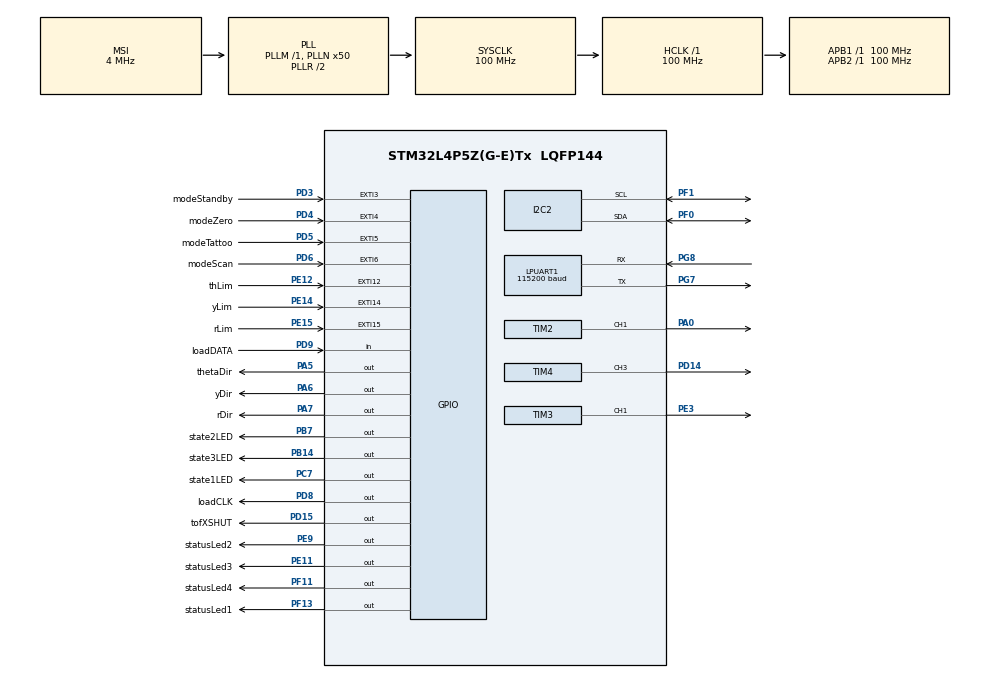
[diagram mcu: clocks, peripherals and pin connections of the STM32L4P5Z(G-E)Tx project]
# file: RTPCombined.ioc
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I2C2.Timing=0x10C0ECFF
LPUART1.BaudRate=115200
LPUART1.WordLength=UART_WORDLENGTH_8B
Mcu.Family=STM32L4
Mcu.Name=STM32L4P5Z(G-E)Tx
Mcu.Package=LQFP144
NVIC.EXTI15_10_IRQn=true\:0\:0\:false\:false\:true\:true\:true\:true
NVIC.EXTI3_IRQn=true\:0\:0\:false\:false\:true\:true\:true\:true
NVIC.EXTI4_IRQn=true\:0\:0\:false\:false\:true\:true\:true\:true
NVIC.EXTI9_5_IRQn=true\:0\:0\:false\:false\:true\:true\:true\:true
NVIC.LPUART1_IRQn=true\:0\:0\:false\:false\:true\:true\:true\:true
NVIC.PriorityGroup=NVIC_PRIORITYGROUP_4
NVIC.TIM2_IRQn=true\:0\:0\:false\:false\:true\:true\:true\:true
NVIC.TIM3_IRQn=true\:0\:0\:false\:false\:true\:true\:true\:true
NVIC.TIM4_IRQn=true\:0\:0\:false\:false\:true\:true\:true\:true
PA0.Signal=S_TIM2_CH1
PA13\ (JTMS/SWDIO).Mode=Serial_Wire
PA13\ (JTMS/SWDIO).Signal=SYS_JTMS-SWDIO
PA14\ (JTCK/SWCLK).Mode=Serial_Wire
PA14\ (JTCK/SWCLK).Signal=SYS_JTCK-SWCLK
PA5.GPIO_Label=thetaDir
PA5.Signal=GPIO_Output
PA6.GPIO_Label=yDir
PA6.Signal=GPIO_Output
PA7.GPIO_Label=rDir
PA7.Signal=GPIO_Output
PB14.GPIO_Label=state3LED
PB14.Signal=GPIO_Output
PB7.GPIO_Label=state2LED
PB7.Signal=GPIO_Output
PC7.GPIO_Label=state1LED
PC7.Signal=GPIO_Output
PD14.Signal=S_TIM4_CH3
PD15.GPIO_Label=tofXSHUT
PD15.Signal=GPIO_Output
PD3.GPIO_Label=modeStandby
PD3.GPIO_ModeDefaultEXTI=GPIO_MODE_IT_FALLING
PD3.GPIO_PuPd=GPIO_PULLUP
PD3.Signal=GPXTI3
PD4.GPIO_Label=modeZero
PD4.GPIO_ModeDefaultEXTI=GPIO_MODE_IT_FALLING
PD4.GPIO_PuPd=GPIO_PULLUP
PD4.Signal=GPXTI4
PD5.GPIO_Label=modeTattoo
PD5.GPIO_ModeDefaultEXTI=GPIO_MODE_IT_FALLING
PD5.GPIO_PuPd=GPIO_PULLUP
PD5.Signal=GPXTI5
PD6.GPIO_Label=modeScan
PD6.GPIO_ModeDefaultEXTI=GPIO_MODE_IT_FALLING
PD6.GPIO_PuPd=GPIO_PULLUP
PD6.Signal=GPXTI6
PD8.GPIO_Label=loadCLK
PD8.Signal=GPIO_Output
PD9.GPIO_Label=loadDATA
PD9.Signal=GPIO_Input
PE11.GPIO_Label=statusLed3
PE11.Signal=GPIO_Output
PE12.GPIO_Label=thLim
PE12.GPIO_ModeDefaultEXTI=GPIO_MODE_IT_FALLING
PE12.GPIO_PuPd=GPIO_PULLUP
PE12.Signal=GPXTI12
PE14.GPIO_Label=yLim
PE14.GPIO_ModeDefaultEXTI=GPIO_MODE_IT_FALLING
PE14.GPIO_PuPd=GPIO_PULLUP
PE14.Signal=GPXTI14
PE15.GPIO_Label=rLim
PE15.GPIO_ModeDefaultEXTI=GPIO_MODE_IT_FALLING
PE15.GPIO_PuPd=GPIO_PULLUP
PE15.Signal=GPXTI15
PE3.Signal=S_TIM3_CH1
PE9.GPIO_Label=statusLed2
PE9.Signal=GPIO_Output
PF0.Mode=I2C
PF0.Signal=I2C2_SDA
PF1.Mode=I2C
PF1.Signal=I2C2_SCL
PF11.GPIO_Label=statusLed4
PF11.Signal=GPIO_Output
PF13.GPIO_Label=statusLed1
PF13.Signal=GPIO_Output
PG7.Mode=Asynchronous
PG7.Signal=LPUART1_TX
PG8.Mode=Asynchronous
PG8.Signal=LPUART1_RX
ProjectManager.HeapSize=0x200
ProjectManager.StackSize=0x400
ProjectManager.TargetToolchain=STM32CubeIDE
RCC.AHBFreq_Value=100000000
RCC.APB1Freq_Value=100000000
RCC.APB1TimFreq_Value=100000000
RCC.APB2Freq_Value=100000000
RCC.APB2TimFreq_Value=100000000
RCC.CortexFreq_Value=100000000
RCC.HCLKFreq_Value=100000000
RCC.HSE_VALUE=8000000
RCC.HSI48_VALUE=48000000
RCC.HSI_VALUE=16000000
RCC.LSE_VALUE=32768
RCC.MSI_VALUE=4000000
RCC.PLLN=50
RCC.SYSCLKFreq_VALUE=100000000
RCC.SYSCLKSource=RCC_SYSCLKSOURCE_PLLCLK
RCC.VCOOutputFreq_Value=200000000
SH.S_TIM2_CH1.0=TIM2_CH1,PWM Generation1 CH1
SH.S_TIM3_CH1.0=TIM3_CH1,PWM Generation1 CH1
SH.S_TIM4_CH3.0=TIM4_CH3,PWM Generation3 CH3
TIM2.AutoReloadPreload=TIM_AUTORELOAD_PRELOAD_ENABLE
TIM2.Channel-PWM\ Generation1\ CH1=TIM_CHANNEL_1
TIM2.Period=1200-1
TIM2.Prescaler=100-1
TIM2.Pulse-PWM\ Generation1\ CH1=500
TIM3.AutoReloadPreload=TIM_AUTORELOAD_PRELOAD_ENABLE
TIM3.Channel-PWM\ Generation1\ CH1=TIM_CHANNEL_1
TIM3.Period=1250-1
TIM3.Prescaler=100-1
TIM3.Pulse-PWM\ Generation1\ CH1=500
TIM4.AutoReloadPreload=TIM_AUTORELOAD_PRELOAD_ENABLE
TIM4.Channel-PWM\ Generation3\ CH3=TIM_CHANNEL_3
TIM4.Period=1250-1
TIM4.Prescaler=100-1
TIM4.Pulse-PWM\ Generation3\ CH3=200
TIM5.Prescaler=100-1
VP_TIM2_VS_ClockSourceINT.Mode=Internal
VP_TIM3_VS_ClockSourceINT.Mode=Internal
VP_TIM4_VS_ClockSourceINT.Mode=Internal
VP_TIM5_VS_ClockSourceINT.Mode=Internal
board=custom

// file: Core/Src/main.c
/* USER CODE BEGIN Header */
/**
 ******************************************************************************
 * @file           : main.c
 * @brief          : Main program body
 ******************************************************************************
 * @attention
 *
 * Copyright (c) 2023 STMicroelectronics.
 * All rights reserved.
 *
 * This software is licensed under terms that can be found in the LICENSE file
 * in the root directory of this software component.
 * If no LICENSE file comes with this software, it is provided AS-IS.
 *
 ******************************************************************************
 */
/* USER CODE END Header */
#include "main.h"

/* USER CODE BEGIN Includes */
#include <stdio.h>
#include <stdlib.h>
#include "stepperControl.h"
#include "vl53l0x_api.h"
#include "hx711.h"
#include "serialFromPC.h"
#include "zeroing.h"
#include "pid.h"
#include "modeSelect.h"

/* USER CODE END Includes */

I2C_HandleTypeDef hi2c2;

UART_HandleTypeDef hlpuart1;

TIM_HandleTypeDef htim2;
TIM_HandleTypeDef htim3;
TIM_HandleTypeDef htim4;
TIM_HandleTypeDef htim5;

/* USER CODE BEGIN PV */

//Mode Control

RTP_MODE rtpMode;
ZERO_MODE zeroMode;
uint8_t modeChangeFlag;

//Stepper Control

stepper thetaMotor;
stepper yMotor;
stepper rMotor;
char doOnceFlag=0;

enum scanStates {posReceive,goToPos,distGet};
enum scanStates scanState;

enum tattooStates {posReceiveTat,goToPosTat,travellingTat};
enum tattooStates tattooState;

// Serial print

uint8_t Message[64];
uint8_t MessageLen;

VL53L0X_RangingMeasurementData_t RangingData;
VL53L0X_Dev_t  vl53l0x_c; // center module
VL53L0X_DEV    Dev = &vl53l0x_c;

uint32_t timer;
uint32_t pidTimer;

//Load Cell Values
hx711_t loadCell;
uint32_t pressureZero;
uint32_t filteredPressure;
double pressureVal;
int64_t pressureValInt;
double setPoint;
//PID Values
PID_TypeDef pressPID;
double deltaR = 0;

typedef struct{
	uint64_t outputSum;
	uint8_t index;
	u_int32_t values[5];

} movingAverageFilter;

//Data Transfer
uint8_t rxBuffer[16];
uint8_t uartRecievedFlag = 0;
Instruction nextInstr;
uint16_t lastRInstruct = 0;

/* USER CODE END PV */

void SystemClock_Config(void);
static void MX_GPIO_Init(void);
static void MX_TIM2_Init(void);
static void MX_TIM4_Init(void);
static void MX_LPUART1_UART_Init(void);
static void MX_I2C2_Init(void);
static void MX_TIM3_Init(void);
static void MX_TIM5_Init(void);

/* USER CODE BEGIN 0 */
uint32_t movingAverage(movingAverageFilter *filter, int newVal){
	//Function Variables
	uint8_t lastValIndex;
	uint8_t filterSize;
	uint32_t lastVal;
	uint32_t average;
	filterSize = sizeof(filter->values)/sizeof(filter->values[0]);
	//Find last value in circular buffer
	lastValIndex = (filter->index+1)%filterSize;
	lastVal = filter->values[lastValIndex];
	//calculate new sum and output average
	filter->outputSum = filter->outputSum-lastVal+newVal;
	average = filter->outputSum/filterSize;
	//Update index and replace
	filter->values[lastValIndex] = newVal;
	filter->index = lastValIndex;

	return average;
}

void modeSwitch(RTP_MODE mode){
	rtpMode = mode;

	//reset sub FSMs
	zeroMode = 0;

	//adjust LED config and motor speed
	switch(mode){
	case RTP_STANDBY:
		//write to LED
		HAL_GPIO_WritePin(statusLed1_GPIO_Port, statusLed1_Pin, 1);
		HAL_GPIO_WritePin(statusLed2_GPIO_Port, statusLed2_Pin, 0);
		HAL_GPIO_WritePin(statusLed3_GPIO_Port, statusLed3_Pin, 0);
		HAL_GPIO_WritePin(statusLed4_GPIO_Port, statusLed4_Pin, 0);
		break;
	case RTP_ZERO:
		HAL_GPIO_WritePin(statusLed1_GPIO_Port, statusLed1_Pin, 0);
		HAL_GPIO_WritePin(statusLed2_GPIO_Port, statusLed2_Pin, 1);
		HAL_GPIO_WritePin(statusLed3_GPIO_Port, statusLed3_Pin, 0);
		HAL_GPIO_WritePin(statusLed4_GPIO_Port, statusLed4_Pin, 0);
		setSpeed(&rMotor, rMotor.PPS_ZeroDefault);
		setSpeed(&thetaMotor, thetaMotor.PPS_ZeroDefault);
		setSpeed(&yMotor, yMotor.PPS_ZeroDefault);
		break;
	case RTP_TATTOO:
		HAL_GPIO_WritePin(statusLed1_GPIO_Port, statusLed1_Pin, 0);
		HAL_GPIO_WritePin(statusLed2_GPIO_Port, statusLed2_Pin, 0);
		HAL_GPIO_WritePin(statusLed3_GPIO_Port, statusLed3_Pin, 1);
		HAL_GPIO_WritePin(statusLed4_GPIO_Port, statusLed4_Pin, 0);
		setSpeed(&rMotor, rMotor.PPS_TattooDefault);
		setSpeed(&thetaMotor, thetaMotor.PPS_TattooDefault);
		setSpeed(&yMotor, yMotor.PPS_TattooDefault);
		break;
	case RTP_SCAN:
		HAL_GPIO_WritePin(statusLed1_GPIO_Port, statusLed1_Pin, 1);
		HAL_GPIO_WritePin(statusLed2_GPIO_Port, statusLed2_Pin, 1);
		HAL_GPIO_WritePin(statusLed3_GPIO_Port, statusLed3_Pin, 1);
		HAL_GPIO_WritePin(statusLed4_GPIO_Port, statusLed4_Pin, 0);
		setSpeed(&rMotor, rMotor.PPS_ScanDefault);
		setSpeed(&thetaMotor, thetaMotor.PPS_ScanDefault);
		setSpeed(&yMotor, yMotor.PPS_ScanDefault);
		break;
	}

}

/* USER CODE END 0 */

int main(void)
{
  /* USER CODE BEGIN 1 */
	uint32_t refSpadCount;
	uint8_t isApertureSpads;
	uint8_t VhvSettings;
	uint8_t PhaseCal;

	//uint32_t timer;

  /* USER CODE END 1 */

  /* MCU Configuration--------------------------------------------------------*/

  /* Reset of all peripherals, Initializes the Flash interface and the Systick. */
  HAL_Init();

  /* USER CODE BEGIN Init */

	InitSerialFromPC(&hlpuart1,rxBuffer);
	movingAverageFilter pressureMAF = {0};

  /* USER CODE END Init */

  /* Configure the system clock */
  SystemClock_Config();

  /* Initialize all configured peripherals */
  MX_GPIO_Init();
  MX_TIM2_Init();
  MX_TIM4_Init();
  MX_LPUART1_UART_Init();
  MX_I2C2_Init();
  MX_TIM3_Init();
  MX_TIM5_Init();
  /* USER CODE BEGIN 2 */

	//Enable Timer Interrupts
	__HAL_TIM_ENABLE_IT(&htim3, TIM_IT_UPDATE);
	__HAL_TIM_ENABLE_IT(&htim2, TIM_IT_UPDATE);
	__HAL_TIM_ENABLE_IT(&htim4, TIM_IT_UPDATE);
	//Initialize stepper structures
	initStepper(&thetaMotor, &htim3, TIM_CHANNEL_1, thetaDir_GPIO_Port, thetaDir_Pin, 400);
	initStepper(&yMotor,&htim2,TIM_CHANNEL_1,yDir_GPIO_Port,yDir_Pin, 400);
	initStepper(&rMotor, &htim4, TIM_CHANNEL_3, rDir_GPIO_Port, rDir_Pin, 400);

	yMotor.PPS_ZeroDefault = 200;
	thetaMotor.PPS_ZeroDefault = 200;
	rMotor.PPS_ZeroDefault = 200;

	thetaMotor.PPS_ScanDefault = 400;
	yMotor.PPS_ScanDefault = 400;
	rMotor.PPS_ScanDefault = 400;

	thetaMotor.PPS_TattooDefault = 400;
	yMotor.PPS_TattooDefault = 400;
	rMotor.PPS_TattooDefault = 400;

	Dev->I2cHandle = &hi2c2;
	Dev->I2cDevAddr = 0x52;

	// VL53L0X init for Single Measurement
	//

    VL53L0X_WaitDeviceBooted( Dev );
    VL53L0X_DataInit( Dev );
    VL53L0X_StaticInit( Dev );
    VL53L0X_PerformRefCalibration(Dev, &VhvSettings, &PhaseCal);
    VL53L0X_PerformRefSpadManagement(Dev, &refSpadCount, &isApertureSpads);
    VL53L0X_SetDeviceMode(Dev, VL53L0X_DEVICEMODE_SINGLE_RANGING);

    // Enable/Disable Sigma and Signal check
    VL53L0X_SetLimitCheckEnable(Dev, VL53L0X_CHECKENABLE_SIGMA_FINAL_RANGE, 1);
    VL53L0X_SetLimitCheckEnable(Dev, VL53L0X_CHECKENABLE_SIGNAL_RATE_FINAL_RANGE, 1);
    VL53L0X_SetLimitCheckValue(Dev, VL53L0X_CHECKENABLE_SIGNAL_RATE_FINAL_RANGE, (FixPoint1616_t)(0.1*65536));
    VL53L0X_SetLimitCheckValue(Dev, VL53L0X_CHECKENABLE_SIGMA_FINAL_RANGE, (FixPoint1616_t)(60*65536));
    VL53L0X_SetMeasurementTimingBudgetMicroSeconds(Dev, 33000);
    VL53L0X_SetVcselPulsePeriod(Dev, VL53L0X_VCSEL_PERIOD_PRE_RANGE, 18);
    VL53L0X_SetVcselPulsePeriod(Dev, VL53L0X_VCSEL_PERIOD_FINAL_RANGE, 14);

	//Enable UART Enable IT
	HAL_UART_Receive_IT(&hlpuart1, rxBuffer, 6); //receive 6 bytes

	//Start timer for uSDelay for HX711
	HAL_TIM_Base_Start(&htim5);
	//Init load cell
	hx711_init(&loadCell, loadCLK_GPIO_Port, loadCLK_Pin, loadDATA_GPIO_Port, loadDATA_Pin, &htim5);
	HAL_Delay(1000);
	pressureZero = hx711_value_ave(&loadCell, 10);
	//	setTarget(&thetaMotor, 1000, 1);
	//	setTarget(&yMotor, 800, 1);
	//	setTarget(&rMotor,500,1);

	//PID Setup
	setPoint = 17000;
	PID(&pressPID, &pressureVal, &deltaR, &setPoint, 0.01, 0, 0, _PID_P_ON_E, _PID_CD_DIRECT);
	PID_SetMode(&pressPID, _PID_MODE_AUTOMATIC);
	PID_SetSampleTime(&pressPID, 100);
	PID_SetOutputLimits(&pressPID, -200, 200);

	//
	//	MessageLen = sprintf((char*)Message, "Here 1 \n\r");
	//	HAL_UART_Transmit(&hlpuart1, Message, MessageLen, 100);

	//	hx711_init(&loadCell, loadCLK_GPIO_Port, loadCLK_Pin, loadDATA_GPIO_Port, loadDATA_Pin, &htim5);
	//		MessageLen = sprintf((char*)Message, "Here 2 \n\r");
	//		HAL_UART_Transmit(&hlpuart1, Message, MessageLen, 100);

  /* USER CODE END 2 */

  /* Infinite loop */
  /* USER CODE BEGIN WHILE */
	//timer = HAL_GetTick();

	//testing stopping function
	//	GoHome(&thetaMotor);
	//	HAL_Delay(10000);
	//	GoHome(&yMotor);
	//	HAL_Delay(10000);
	//	GoHome(&rMotor);
	//	HAL_Delay(10000);
	timer = HAL_GetTick();
	modeSwitch(RTP_STANDBY);
	//GoHomeR(&rMotor);
	//setTarget(&rMotor,100,1);
	//HAL_GPIO_WritePin(statusLed1_GPIO_Port, statusLed1_Pin, 1);

	while (1)
	{
		/*** STANDBY MODE ***/
		if(rtpMode == RTP_STANDBY){
			//stopStepper(&rMotor);
			//stopStepper(&thetaMotor);
			//stopStepper(&yMotor);

		}

		/*** ZEROING MODE ***/
		else if(rtpMode == RTP_ZERO){

			//zeroing FSM
			switch(zeroMode){
			case 0:
				GoHomeR(&rMotor);
				zeroMode++;
				break;
			case 1:
				if(rMotor.Status == Stopped) zeroMode++;
				break;
			case 2:
				GoHome(&thetaMotor);
				zeroMode++;
				break;
			case 3:
				if(thetaMotor.Status == Stopped) zeroMode++;
				break;
			case 4:
				GoHome(&yMotor);
				zeroMode++;
				break;
			case 5:
				if(yMotor.Status == Stopped) zeroMode++;
				break;
			case 6:
				zeroMode = 0;
				modeSwitch(RTP_STANDBY);
				break;
			}

		}

		/*** TATTOO MODE ***/
		else if(rtpMode == RTP_TATTOO){
			//Tattooing sequence
			if(tattooState == posReceiveTat && yMotor.Status == Stopped && thetaMotor.Status == Stopped){
				HAL_GPIO_WritePin(state1LED_GPIO_Port, state1LED_Pin, RESET);
				HAL_GPIO_WritePin(state2LED_GPIO_Port, state2LED_Pin, SET);
				if(uartRecievedFlag){
					//retrieve instructions
					ParseInstructions(rxBuffer, &nextInstr);
					//enable receive interrupt
					uartRecievedFlag = 0;
					HAL_UART_Receive_IT(&hlpuart1, rxBuffer, 6);
					HAL_GPIO_WritePin(state2LED_GPIO_Port, state2LED_Pin, RESET);
					tattooState = goToPosTat ;
				}
			}
			if(tattooState == goToPosTat && yMotor.Status == Stopped && thetaMotor.Status == Stopped){
				HAL_GPIO_WritePin(state3LED_GPIO_Port, state3LED_Pin, SET);
				//Increment theta based on direction
				if(nextInstr.th>=thetaMotor.TargetPosition){
					setTarget(&thetaMotor, (uint64_t)abs(nextInstr.th - thetaMotor.TargetPosition), 1);
				}
				else{
					setTarget(&thetaMotor, (uint64_t)abs(nextInstr.th - thetaMotor.TargetPosition), 0);
				}
				//Increment Y based on direction
				if(nextInstr.y >= yMotor.TargetPosition){
					setTarget(&yMotor, (uint64_t)abs(nextInstr.y - yMotor.TargetPosition), 1);
				}
				else{
					setTarget(&yMotor, (uint64_t)abs(nextInstr.y - yMotor.TargetPosition), 0);
				}
				//Increment R based on direction
				if(nextInstr.r >= rMotor.TargetPosition){
					setTarget(&rMotor, (uint64_t)abs(nextInstr.r - rMotor.TargetPosition), 1);
				}
				else{
					setTarget(&rMotor, (uint64_t)abs(nextInstr.r - rMotor.TargetPosition), 0);
				}
				tattooState = travellingTat;
			}
			if(tattooState == travellingTat && yMotor.Status == Stopped && thetaMotor.Status == Stopped){
				HAL_GPIO_WritePin(state3LED_GPIO_Port, state3LED_Pin, RESET);
				SendSerialChar('a');
				tattooState = posReceiveTat;
			}
		}

		/*** SCAN MODE ***/
		else if(rtpMode == RTP_SCAN){
			//Scanning Sequence
			//check if data has been received
			if(scanState == posReceive && yMotor.Status == Stopped && thetaMotor.Status == Stopped){
				HAL_GPIO_WritePin(state1LED_GPIO_Port, state1LED_Pin, SET);
				if(uartRecievedFlag){
					//retrieve instructions
					ParseInstructions(rxBuffer, &nextInstr);
					//enable receive interrupt
					uartRecievedFlag = 0;
					HAL_UART_Receive_IT(&hlpuart1, rxBuffer, 6);
					HAL_GPIO_WritePin(state1LED_GPIO_Port, state1LED_Pin, RESET);
					scanState = goToPos;
				}
			}
			else if(scanState == goToPos && yMotor.Status == Stopped && thetaMotor.Status == Stopped && rMotor.Status == Stopped){
				//HAL_GPIO_WritePin(state2LED_GPIO_Port, state2LED_Pin, SET);
				//Increment theta based on direction
				if(nextInstr.th>=thetaMotor.TargetPosition){
					setTarget(&thetaMotor, (uint64_t)abs(nextInstr.th - thetaMotor.TargetPosition), 1);
				}
				else{
					setTarget(&thetaMotor, (uint64_t)abs(nextInstr.th - thetaMotor.TargetPosition), 0);
				}
				//Increment Y based on direction
				if(nextInstr.y >= yMotor.TargetPosition){
					setTarget(&yMotor, (uint64_t)abs(nextInstr.y - yMotor.TargetPosition), 1);
				}
				else{
					setTarget(&yMotor, (uint64_t)abs(nextInstr.y - yMotor.TargetPosition), 0);
				}

				//HAL_GPIO_WritePin(state2LED_GPIO_Port, state2LED_Pin, RESET);
				scanState = distGet;
			}
			else if(scanState == distGet && (yMotor.Status != Stopped || thetaMotor.Status != Stopped)){
				HAL_GPIO_WritePin(state2LED_GPIO_Port, state2LED_Pin, SET);
				timer = HAL_GetTick();
			}
			else if(scanState == distGet && yMotor.Status == Stopped && thetaMotor.Status == Stopped){
				HAL_GPIO_WritePin(state2LED_GPIO_Port, state2LED_Pin, RESET);
				HAL_GPIO_WritePin(state3LED_GPIO_Port, state3LED_Pin, SET);
				VL53L0X_PerformSingleRangingMeasurement(Dev, &RangingData);
				if(RangingData.RangeStatus == 0){
					SendSerialInt(RangingData.RangeMilliMeter);
					timer = HAL_GetTick()-timer;
					HAL_GPIO_WritePin(state3LED_GPIO_Port, state3LED_Pin, RESET);
					scanState = posReceive;
				}
			}

		}

		//		HAL_Delay(100);
		//		MessageLen = sprintf((char*)Message, "Current Position: %d Target: %d \n\r",(int)yMotor.CurrentPosition,(int)yMotor.TargetPosition);
		//		HAL_UART_Transmit(&hlpuart1, Message, MessageLen, 100);
		//
		//		if((HAL_GetTick()-timer>=5000) && (HAL_GetTick()-timer<=5180)){
		//			setTarget(&yMotor, 1000, 0);
		//		}
		//		timer = HAL_GetTick();
		//		VL53L0X_PerformSingleRangingMeasurement(Dev, &RangingData);
		//		if(RangingData.RangeStatus == 0)
		//		{
		//			MessageLen = sprintf((char*)Message, "Measured distance: %i", RangingData.RangeMilliMeter);
		//			HAL_UART_Transmit(&hlpuart1, Message, MessageLen, 100);
		//			MessageLen = sprintf((char*)Message, "calcTime: %i\n\r",(int)(HAL_GetTick()-timer));
		//			HAL_UART_Transmit(&hlpuart1, Message, MessageLen, 100);
		//		}

		//		if(uartRecievedFlag  && yMotor.Status == Stopped && thetaMotor.Status == Stopped){
		//			//retrieve instructions
		//			ParseInstructions(rxBuffer, &nextInstr);
		//			//enable receive interrupt
		//			uartRecievedFlag = 0;
		//			HAL_UART_Receive_IT(&huart1, rxBuffer, 6);
		//			VL53L0X_PerformSingleRangingMeasurement(Dev, &RangingData);
		//			if(RangingData.RangeStatus == 0){
		//			//send TOF Val
		//			SendSerialInt();
		//			}
		//		}

		//		if((HAL_GetTick()-timer)>15000 && !doOnceFlag){
		////			setTarget(&thetaMotor, 1000, 0);
		////		setTarget(&yMotor, 800, 0);
		////			setTarget(&rMotor,500,0);
		//			doOnceFlag = 1;
		//		}

		//			MessageLen = sprintf((char*)Message, " Current: %d ",(int)(thetaMotor.CurrentPosition));
		//			HAL_UART_Transmit(&hlpuart1, Message, MessageLen, 100);
		//
		//			MessageLen = sprintf((char*)Message, "Target: %d\n\r ",(int)(thetaMotor.TargetPosition));
		//			HAL_UART_Transmit(&hlpuart1, Message, MessageLen, 100);

		//HAL_Delay(100);
    /* USER CODE END WHILE */

	}
}

void SystemClock_Config(void)
{
  RCC_OscInitTypeDef RCC_OscInitStruct = {0};
  RCC_ClkInitTypeDef RCC_ClkInitStruct = {0};

  /** Configure the main internal regulator output voltage
  */
  if (HAL_PWREx_ControlVoltageScaling(PWR_REGULATOR_VOLTAGE_SCALE1_BOOST) != HAL_OK)
  {
    Error_Handler();
  }

  /** Initializes the RCC Oscillators according to the specified parameters
  * in the RCC_OscInitTypeDef structure.
  */
  RCC_OscInitStruct.OscillatorType = RCC_OSCILLATORTYPE_MSI;
  RCC_OscInitStruct.MSIState = RCC_MSI_ON;
  RCC_OscInitStruct.MSICalibrationValue = 0;
  RCC_OscInitStruct.MSIClockRange = RCC_MSIRANGE_6;
  RCC_OscInitStruct.PLL.PLLState = RCC_PLL_ON;
  RCC_OscInitStruct.PLL.PLLSource = RCC_PLLSOURCE_MSI;
  RCC_OscInitStruct.PLL.PLLM = 1;
  RCC_OscInitStruct.PLL.PLLN = 50;
  RCC_OscInitStruct.PLL.PLLP = RCC_PLLP_DIV2;
  RCC_OscInitStruct.PLL.PLLQ = RCC_PLLQ_DIV2;
  RCC_OscInitStruct.PLL.PLLR = RCC_PLLR_DIV2;
  if (HAL_RCC_OscConfig(&RCC_OscInitStruct) != HAL_OK)
  {
    Error_Handler();
  }

  /** Initializes the CPU, AHB and APB buses clocks
  */
  RCC_ClkInitStruct.ClockType = RCC_CLOCKTYPE_HCLK|RCC_CLOCKTYPE_SYSCLK
                              |RCC_CLOCKTYPE_PCLK1|RCC_CLOCKTYPE_PCLK2;
  RCC_ClkInitStruct.SYSCLKSource = RCC_SYSCLKSOURCE_PLLCLK;
  RCC_ClkInitStruct.AHBCLKDivider = RCC_SYSCLK_DIV1;
  RCC_ClkInitStruct.APB1CLKDivider = RCC_HCLK_DIV1;
  RCC_ClkInitStruct.APB2CLKDivider = RCC_HCLK_DIV1;

  if (HAL_RCC_ClockConfig(&RCC_ClkInitStruct, FLASH_LATENCY_4) != HAL_OK)
  {
    Error_Handler();
  }
}

static void MX_I2C2_Init(void)
{

  hi2c2.Instance = I2C2;
  hi2c2.Init.Timing = 0x10C0ECFF;
  hi2c2.Init.OwnAddress1 = 0;
  hi2c2.Init.AddressingMode = I2C_ADDRESSINGMODE_7BIT;
  hi2c2.Init.DualAddressMode = I2C_DUALADDRESS_DISABLE;
  hi2c2.Init.OwnAddress2 = 0;
  hi2c2.Init.OwnAddress2Masks = I2C_OA2_NOMASK;
  hi2c2.Init.GeneralCallMode = I2C_GENERALCALL_DISABLE;
  hi2c2.Init.NoStretchMode = I2C_NOSTRETCH_DISABLE;
  if (HAL_I2C_Init(&hi2c2) != HAL_OK)
  {
    Error_Handler();
  }

  /** Configure Analogue filter
  */
  if (HAL_I2CEx_ConfigAnalogFilter(&hi2c2, I2C_ANALOGFILTER_ENABLE) != HAL_OK)
  {
    Error_Handler();
  }

  /** Configure Digital filter
  */
  if (HAL_I2CEx_ConfigDigitalFilter(&hi2c2, 0) != HAL_OK)
  {
    Error_Handler();
  }

}

static void MX_LPUART1_UART_Init(void)
{

  hlpuart1.Instance = LPUART1;
  hlpuart1.Init.BaudRate = 115200;
  hlpuart1.Init.WordLength = UART_WORDLENGTH_8B;
  hlpuart1.Init.StopBits = UART_STOPBITS_1;
  hlpuart1.Init.Parity = UART_PARITY_NONE;
  hlpuart1.Init.Mode = UART_MODE_TX_RX;
  hlpuart1.Init.HwFlowCtl = UART_HWCONTROL_NONE;
  hlpuart1.Init.OneBitSampling = UART_ONE_BIT_SAMPLE_DISABLE;
  hlpuart1.Init.ClockPrescaler = UART_PRESCALER_DIV1;
  hlpuart1.AdvancedInit.AdvFeatureInit = UART_ADVFEATURE_NO_INIT;
  hlpuart1.FifoMode = UART_FIFOMODE_DISABLE;
  if (HAL_UART_Init(&hlpuart1) != HAL_OK)
  {
    Error_Handler();
  }
  if (HAL_UARTEx_SetTxFifoThreshold(&hlpuart1, UART_TXFIFO_THRESHOLD_1_8) != HAL_OK)
  {
    Error_Handler();
  }
  if (HAL_UARTEx_SetRxFifoThreshold(&hlpuart1, UART_RXFIFO_THRESHOLD_1_8) != HAL_OK)
  {
    Error_Handler();
  }
  if (HAL_UARTEx_DisableFifoMode(&hlpuart1) != HAL_OK)
  {
    Error_Handler();
  }

}

static void MX_TIM2_Init(void)
{

  TIM_ClockConfigTypeDef sClockSourceConfig = {0};
  TIM_MasterConfigTypeDef sMasterConfig = {0};
  TIM_OC_InitTypeDef sConfigOC = {0};

  htim2.Instance = TIM2;
  htim2.Init.Prescaler = 100-1;
  htim2.Init.CounterMode = TIM_COUNTERMODE_UP;
  htim2.Init.Period = 1200-1;
  htim2.Init.ClockDivision = TIM_CLOCKDIVISION_DIV1;
  htim2.Init.AutoReloadPreload = TIM_AUTORELOAD_PRELOAD_ENABLE;
  if (HAL_TIM_Base_Init(&htim2) != HAL_OK)
  {
    Error_Handler();
  }
  sClockSourceConfig.ClockSource = TIM_CLOCKSOURCE_INTERNAL;
  if (HAL_TIM_ConfigClockSource(&htim2, &sClockSourceConfig) != HAL_OK)
  {
    Error_Handler();
  }
  if (HAL_TIM_PWM_Init(&htim2) != HAL_OK)
  {
    Error_Handler();
  }
  sMasterConfig.MasterOutputTrigger = TIM_TRGO_RESET;
  sMasterConfig.MasterSlaveMode = TIM_MASTERSLAVEMODE_DISABLE;
  if (HAL_TIMEx_MasterConfigSynchronization(&htim2, &sMasterConfig) != HAL_OK)
  {
    Error_Handler();
  }
  sConfigOC.OCMode = TIM_OCMODE_PWM1;
  sConfigOC.Pulse = 500;
  sConfigOC.OCPolarity = TIM_OCPOLARITY_HIGH;
  sConfigOC.OCFastMode = TIM_OCFAST_DISABLE;
  if (HAL_TIM_PWM_ConfigChannel(&htim2, &sConfigOC, TIM_CHANNEL_1) != HAL_OK)
  {
    Error_Handler();
  }
  HAL_TIM_MspPostInit(&htim2);

}

static void MX_TIM3_Init(void)
{

  TIM_ClockConfigTypeDef sClockSourceConfig = {0};
  TIM_MasterConfigTypeDef sMasterConfig = {0};
  TIM_OC_InitTypeDef sConfigOC = {0};

  htim3.Instance = TIM3;
  htim3.Init.Prescaler = 100-1;
  htim3.Init.CounterMode = TIM_COUNTERMODE_UP;
  htim3.Init.Period = 1250-1;
  htim3.Init.ClockDivision = TIM_CLOCKDIVISION_DIV1;
  htim3.Init.AutoReloadPreload = TIM_AUTORELOAD_PRELOAD_ENABLE;
  if (HAL_TIM_Base_Init(&htim3) != HAL_OK)
  {
    Error_Handler();
  }
  sClockSourceConfig.ClockSource = TIM_CLOCKSOURCE_INTERNAL;
  if (HAL_TIM_ConfigClockSource(&htim3, &sClockSourceConfig) != HAL_OK)
  {
    Error_Handler();
  }
  if (HAL_TIM_PWM_Init(&htim3) != HAL_OK)
  {
    Error_Handler();
  }
  sMasterConfig.MasterOutputTrigger = TIM_TRGO_RESET;
  sMasterConfig.MasterSlaveMode = TIM_MASTERSLAVEMODE_DISABLE;
  if (HAL_TIMEx_MasterConfigSynchronization(&htim3, &sMasterConfig) != HAL_OK)
  {
    Error_Handler();
  }
  sConfigOC.OCMode = TIM_OCMODE_PWM1;
  sConfigOC.Pulse = 500;
  sConfigOC.OCPolarity = TIM_OCPOLARITY_HIGH;
  sConfigOC.OCFastMode = TIM_OCFAST_DISABLE;
  if (HAL_TIM_PWM_ConfigChannel(&htim3, &sConfigOC, TIM_CHANNEL_1) != HAL_OK)
  {
    Error_Handler();
  }
  HAL_TIM_MspPostInit(&htim3);

}

static void MX_TIM4_Init(void)
{

  TIM_ClockConfigTypeDef sClockSourceConfig = {0};
  TIM_MasterConfigTypeDef sMasterConfig = {0};
  TIM_OC_InitTypeDef sConfigOC = {0};

  htim4.Instance = TIM4;
  htim4.Init.Prescaler = 100-1;
  htim4.Init.CounterMode = TIM_COUNTERMODE_UP;
  htim4.Init.Period = 1250-1;
  htim4.Init.ClockDivision = TIM_CLOCKDIVISION_DIV1;
  htim4.Init.AutoReloadPreload = TIM_AUTORELOAD_PRELOAD_ENABLE;
  if (HAL_TIM_Base_Init(&htim4) != HAL_OK)
  {
    Error_Handler();
  }
  sClockSourceConfig.ClockSource = TIM_CLOCKSOURCE_INTERNAL;
  if (HAL_TIM_ConfigClockSource(&htim4, &sClockSourceConfig) != HAL_OK)
  {
    Error_Handler();
  }
  if (HAL_TIM_PWM_Init(&htim4) != HAL_OK)
  {
    Error_Handler();
  }
  sMasterConfig.MasterOutputTrigger = TIM_TRGO_RESET;
  sMasterConfig.MasterSlaveMode = TIM_MASTERSLAVEMODE_DISABLE;
  if (HAL_TIMEx_MasterConfigSynchronization(&htim4, &sMasterConfig) != HAL_OK)
  {
    Error_Handler();
  }
  sConfigOC.OCMode = TIM_OCMODE_PWM1;
  sConfigOC.Pulse = 200;
  sConfigOC.OCPolarity = TIM_OCPOLARITY_HIGH;
  sConfigOC.OCFastMode = TIM_OCFAST_DISABLE;
  if (HAL_TIM_PWM_ConfigChannel(&htim4, &sConfigOC, TIM_CHANNEL_3) != HAL_OK)
  {
    Error_Handler();
  }
  HAL_TIM_MspPostInit(&htim4);

}

static void MX_TIM5_Init(void)
{

  TIM_ClockConfigTypeDef sClockSourceConfig = {0};
  TIM_MasterConfigTypeDef sMasterConfig = {0};

  htim5.Instance = TIM5;
  htim5.Init.Prescaler = 100-1;
  htim5.Init.CounterMode = TIM_COUNTERMODE_UP;
  htim5.Init.Period = 4294967295;
  htim5.Init.ClockDivision = TIM_CLOCKDIVISION_DIV1;
  htim5.Init.AutoReloadPreload = TIM_AUTORELOAD_PRELOAD_DISABLE;
  if (HAL_TIM_Base_Init(&htim5) != HAL_OK)
  {
    Error_Handler();
  }
  sClockSourceConfig.ClockSource = TIM_CLOCKSOURCE_INTERNAL;
  if (HAL_TIM_ConfigClockSource(&htim5, &sClockSourceConfig) != HAL_OK)
  {
    Error_Handler();
  }
  sMasterConfig.MasterOutputTrigger = TIM_TRGO_RESET;
  sMasterConfig.MasterSlaveMode = TIM_MASTERSLAVEMODE_DISABLE;
  if (HAL_TIMEx_MasterConfigSynchronization(&htim5, &sMasterConfig) != HAL_OK)
  {
    Error_Handler();
  }

}

static void MX_GPIO_Init(void)
{
  GPIO_InitTypeDef GPIO_InitStruct = {0};

  /* GPIO Ports Clock Enable */
  __HAL_RCC_GPIOE_CLK_ENABLE();
  __HAL_RCC_GPIOF_CLK_ENABLE();
  __HAL_RCC_GPIOA_CLK_ENABLE();
  __HAL_RCC_GPIOB_CLK_ENABLE();
  __HAL_RCC_GPIOD_CLK_ENABLE();
  __HAL_RCC_GPIOG_CLK_ENABLE();
  HAL_PWREx_EnableVddIO2();
  __HAL_RCC_GPIOC_CLK_ENABLE();

  /*Configure GPIO pin Output Level */
  HAL_GPIO_WritePin(GPIOA, thetaDir_Pin|yDir_Pin|rDir_Pin, GPIO_PIN_RESET);

  /*Configure GPIO pin Output Level */
  HAL_GPIO_WritePin(GPIOF, statusLed4_Pin|statusLed1_Pin, GPIO_PIN_RESET);

  /*Configure GPIO pin Output Level */
  HAL_GPIO_WritePin(GPIOE, statusLed2_Pin|statusLed3_Pin, GPIO_PIN_RESET);

  /*Configure GPIO pin Output Level */
  HAL_GPIO_WritePin(GPIOB, state3LED_Pin|state2LED_Pin, GPIO_PIN_RESET);

  /*Configure GPIO pin Output Level */
  HAL_GPIO_WritePin(GPIOD, loadCLK_Pin|tofXSHUT_Pin, GPIO_PIN_RESET);

  /*Configure GPIO pin Output Level */
  HAL_GPIO_WritePin(state1LED_GPIO_Port, state1LED_Pin, GPIO_PIN_RESET);

  /*Configure GPIO pins : thetaDir_Pin yDir_Pin rDir_Pin */
  GPIO_InitStruct.Pin = thetaDir_Pin|yDir_Pin|rDir_Pin;
  GPIO_InitStruct.Mode = GPIO_MODE_OUTPUT_PP;
  GPIO_InitStruct.Pull = GPIO_NOPULL;
  GPIO_InitStruct.Speed = GPIO_SPEED_FREQ_LOW;
  HAL_GPIO_Init(GPIOA, &GPIO_InitStruct);

  /*Configure GPIO pins : statusLed4_Pin statusLed1_Pin */
  GPIO_InitStruct.Pin = statusLed4_Pin|statusLed1_Pin;
  GPIO_InitStruct.Mode = GPIO_MODE_OUTPUT_PP;
  GPIO_InitStruct.Pull = GPIO_NOPULL;
  GPIO_InitStruct.Speed = GPIO_SPEED_FREQ_LOW;
  HAL_GPIO_Init(GPIOF, &GPIO_InitStruct);

  /*Configure GPIO pins : statusLed2_Pin statusLed3_Pin */
  GPIO_InitStruct.Pin = statusLed2_Pin|statusLed3_Pin;
  GPIO_InitStruct.Mode = GPIO_MODE_OUTPUT_PP;
  GPIO_InitStruct.Pull = GPIO_NOPULL;
  GPIO_InitStruct.Speed = GPIO_SPEED_FREQ_LOW;
  HAL_GPIO_Init(GPIOE, &GPIO_InitStruct);

  /*Configure GPIO pins : thLim_Pin yLim_Pin rLim_Pin */
  GPIO_InitStruct.Pin = thLim_Pin|yLim_Pin|rLim_Pin;
  GPIO_InitStruct.Mode = GPIO_MODE_IT_FALLING;
  GPIO_InitStruct.Pull = GPIO_PULLUP;
  HAL_GPIO_Init(GPIOE, &GPIO_InitStruct);

  /*Configure GPIO pins : state3LED_Pin state2LED_Pin */
  GPIO_InitStruct.Pin = state3LED_Pin|state2LED_Pin;
  GPIO_InitStruct.Mode = GPIO_MODE_OUTPUT_PP;
  GPIO_InitStruct.Pull = GPIO_NOPULL;
  GPIO_InitStruct.Speed = GPIO_SPEED_FREQ_LOW;
  HAL_GPIO_Init(GPIOB, &GPIO_InitStruct);

  /*Configure GPIO pins : loadCLK_Pin tofXSHUT_Pin */
  GPIO_InitStruct.Pin = loadCLK_Pin|tofXSHUT_Pin;
  GPIO_InitStruct.Mode = GPIO_MODE_OUTPUT_PP;
  GPIO_InitStruct.Pull = GPIO_NOPULL;
  GPIO_InitStruct.Speed = GPIO_SPEED_FREQ_LOW;
  HAL_GPIO_Init(GPIOD, &GPIO_InitStruct);

  /*Configure GPIO pin : loadDATA_Pin */
  GPIO_InitStruct.Pin = loadDATA_Pin;
  GPIO_InitStruct.Mode = GPIO_MODE_INPUT;
  GPIO_InitStruct.Pull = GPIO_NOPULL;
  HAL_GPIO_Init(loadDATA_GPIO_Port, &GPIO_InitStruct);

  /*Configure GPIO pin : state1LED_Pin */
  GPIO_InitStruct.Pin = state1LED_Pin;
  GPIO_InitStruct.Mode = GPIO_MODE_OUTPUT_PP;
  GPIO_InitStruct.Pull = GPIO_NOPULL;
  GPIO_InitStruct.Speed = GPIO_SPEED_FREQ_LOW;
  HAL_GPIO_Init(state1LED_GPIO_Port, &GPIO_InitStruct);

  /*Configure GPIO pins : modeStandby_Pin modeZero_Pin modeTattoo_Pin modeScan_Pin */
  GPIO_InitStruct.Pin = modeStandby_Pin|modeZero_Pin|modeTattoo_Pin|modeScan_Pin;
  GPIO_InitStruct.Mode = GPIO_MODE_IT_FALLING;
  GPIO_InitStruct.Pull = GPIO_PULLUP;
  HAL_GPIO_Init(GPIOD, &GPIO_InitStruct);

  /* EXTI interrupt init*/
  HAL_NVIC_SetPriority(EXTI3_IRQn, 0, 0);
  HAL_NVIC_EnableIRQ(EXTI3_IRQn);

  HAL_NVIC_SetPriority(EXTI4_IRQn, 0, 0);
  HAL_NVIC_EnableIRQ(EXTI4_IRQn);

  HAL_NVIC_SetPriority(EXTI9_5_IRQn, 0, 0);
  HAL_NVIC_EnableIRQ(EXTI9_5_IRQn);

  HAL_NVIC_SetPriority(EXTI15_10_IRQn, 0, 0);
  HAL_NVIC_EnableIRQ(EXTI15_10_IRQn);

}

/* USER CODE BEGIN 4 */
void  HAL_TIM_PeriodElapsedCallback (TIM_HandleTypeDef * htim){
	//Theta Motor interrupts
	if(htim == thetaMotor.Timer){
		if(thetaMotor.Status == RunningForward){
			thetaMotor.CurrentPosition++;
		}
		else if (thetaMotor.Status == RunningBackward){
			thetaMotor.CurrentPosition--;
		}
		if(thetaMotor.CurrentPosition == thetaMotor.TargetPosition){
			HAL_TIM_PWM_Stop(thetaMotor.Timer, thetaMotor.Channel);
			HAL_TIM_Base_Stop(thetaMotor.Timer);
			thetaMotor.Status = Stopped;
		}
	}
	//yMotor Interrupts
	if(htim == yMotor.Timer){
		if(yMotor.Status == RunningForward){
			yMotor.CurrentPosition++;
		}
		else if (yMotor.Status == RunningBackward){
			yMotor.CurrentPosition--;
		}
		if(yMotor.CurrentPosition == yMotor.TargetPosition){
			HAL_TIM_PWM_Stop(yMotor.Timer, yMotor.Channel);
			HAL_TIM_Base_Stop(yMotor.Timer);
			yMotor.Status = Stopped;
		}
	}
	//rMotor Interrupts
	if(htim == rMotor.Timer){
		if(rMotor.Status == RunningForward){
			rMotor.CurrentPosition++;
		}
		else if (rMotor.Status == RunningBackward){
			rMotor.CurrentPosition--;
		}
		if(rMotor.CurrentPosition == rMotor.TargetPosition){
			HAL_TIM_PWM_Stop(rMotor.Timer, rMotor.Channel);
			HAL_TIM_Base_Stop(rMotor.Timer);
			rMotor.Status = Stopped;
		}

	}
}
void HAL_UART_RxCpltCallback(UART_HandleTypeDef *huart)
{
	//set flag
	uartRecievedFlag = 1;
}

void HAL_GPIO_EXTI_Callback(uint16_t GPIO_Pin){

	switch(GPIO_Pin){
	//limit switches
	case rLim_Pin:
		zeroStepperR(&rMotor);
		break;
	case thLim_Pin:
		zeroStepper(&thetaMotor);
		break;
	case yLim_Pin:
		zeroStepper(&yMotor);
		break;
		//mode pushbuttons
	case modeStandby_Pin:
		modeSwitch(RTP_STANDBY);
		break;
	case modeZero_Pin:
		modeSwitch(RTP_ZERO);
		//add this for testing
		break;
	case modeTattoo_Pin:
		//modeSwitch(RTP_TATTOO);
		break;
	case modeScan_Pin:
		//modeSwitch(RTP_SCAN);
		break;
	}

}

/* USER CODE END 4 */

void Error_Handler(void)
{
	__disable_irq();
	while (1)
	{
	}
}
